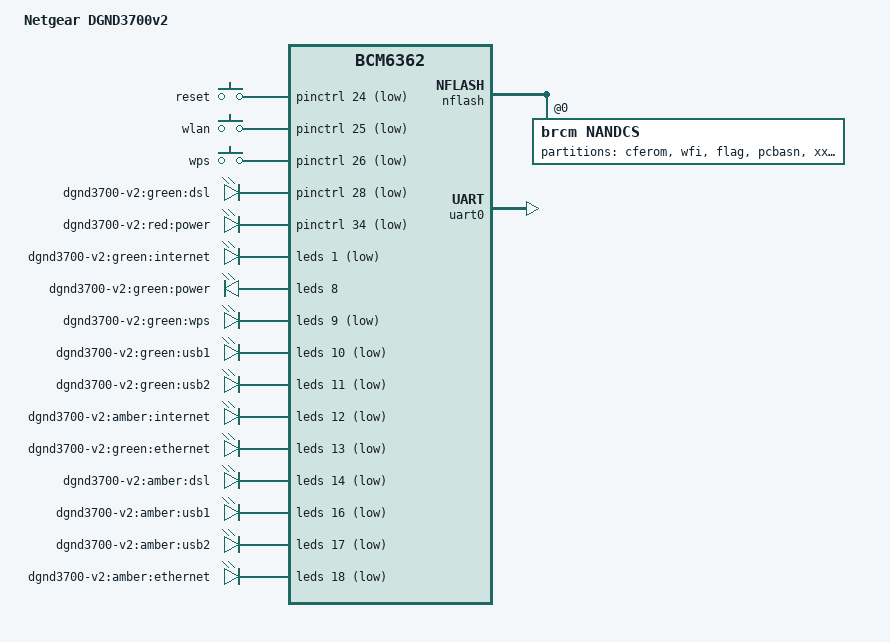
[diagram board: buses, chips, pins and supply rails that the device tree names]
// SPDX-License-Identifier: GPL-2.0-or-later

/dts-v1/;

#include "bcm6362.dtsi"

#include <dt-bindings/input/input.h>

/ {
	model = "Netgear DGND3700v2";
	compatible = "netgear,dgnd3700-v2", "brcm,bcm6362";

	aliases {
		led-boot = &led_power_green;
		led-failsafe = &led_power_green;
		led-running = &led_power_green;
		led-upgrade = &led_power_green;
	};

	chosen {
		bootargs = "rootfstype=squashfs,ubifs noinitrd console=ttyS0,115200";
		stdout-path = "serial0:115200n8";
	};

	keys {
		compatible = "gpio-keys-polled";
		#address-cells = <1>;
		#size-cells = <0>;
		poll-interval = <20>;

		reset {
			label = "reset";
			gpios = <&pinctrl 24 1>;
			linux,code = <KEY_RESTART>;
			debounce-interval = <60>;
		};

		wlan {
			label = "wlan";
			gpios = <&pinctrl 25 1>;
			linux,code = <KEY_WLAN>;
			debounce-interval = <60>;
		};

		wps {
			label = "wps";
			gpios = <&pinctrl 26 1>;
			linux,code = <KEY_WPS_BUTTON>;
			debounce-interval = <60>;
		};
	};

	leds {
		compatible = "gpio-leds";

		led@28 {
			label = "dgnd3700-v2:green:dsl";
			gpios = <&pinctrl 28 1>;
		};

		led@34 {
			label = "dgnd3700-v2:red:power";
			gpios = <&pinctrl 34 1>;
		};
	};
};

&leds {
	status = "okay";
	brcm,serial-leds;
	brcm,serial-dat-low;
	brcm,serial-shift-inv;
	brcm,serial-mux;

	pinctrl-names = "default";
	pinctrl-0 = <&pinctrl_leds &pinctrl_serial_led>;

	led@1 {
		reg = <1>;
		active-low;
		label = "dgnd3700-v2:green:internet";
	};

	led_power_green: led@8 {
		reg = <8>;
		label = "dgnd3700-v2:green:power";
		default-state = "on";
	};

	led@9 {
		reg = <9>;
		active-low;
		label = "dgnd3700-v2:green:wps";
	};

	led@10 {
		reg = <10>;
		active-low;
		label = "dgnd3700-v2:green:usb1";
	};

	led@11 {
		reg = <11>;
		active-low;
		label = "dgnd3700-v2:green:usb2";
	};

	led@12 {
		reg = <12>;
		active-low;
		label = "dgnd3700-v2:amber:internet";
	};

	led@13 {
		reg = <13>;
		active-low;
		label = "dgnd3700-v2:green:ethernet";
	};

	led@14 {
		reg = <14>;
		active-low;
		label = "dgnd3700-v2:amber:dsl";
	};

	led@16 {
		reg = <16>;
		active-low;
		label = "dgnd3700-v2:amber:usb1";
	};

	led@17 {
		reg = <17>;
		active-low;
		label = "dgnd3700-v2:amber:usb2";
	};

	led@18 {
		reg = <18>;
		active-low;
		label = "dgnd3700-v2:amber:ethernet";
	};
};

&nflash {
	status = "okay";

	nandcs@0 {
		compatible = "brcm,nandcs";
		#size-cells = <1>;
		#address-cells = <1>;
		reg = <0>;
		nand-ecc-step-size = <512>;
		nand-ecc-strength = <15>;
		nand-on-flash-bbt;

		partitions {
			compatible = "fixed-partitions";
			#address-cells = <1>;
			#size-cells = <1>;

			partition@0 {
				label = "cferom";
				reg = <0x0000000 0x0004000>;
				read-only;
			};

			partition@4000 {
				compatible = "brcm,wfi";
				label = "wfi";
				reg = <0x0004000 0x1c7c000>;
			};

			partition@1c80000 {
				label = "flag";
				reg = <0x1c80000 0x0040000>;
				read-only;
			};

			partition@1cc0000 {
				label = "pcbasn";
				reg = <0x1cc0000 0x0040000>;
				read-only;
			};

			partition@1d00000 {
				label = "xxx";
				reg = <0x1d00000 0x0080000>;
				read-only;
			};

			partition@1d80000 {
				label = "language_dev";
				reg = <0x1d80000 0x0040000>;
				read-only;
			};

			partition@1dc0000 {
				label = "scnvram";
				reg = <0x1dc0000 0x0100000>;
				read-only;
			};
		};
	};
};

&pinctrl {
	pinctrl_leds: leds {
		function = "led";
		pins = "gpio1";
	};
};

&uart0 {
	status = "okay";
};
